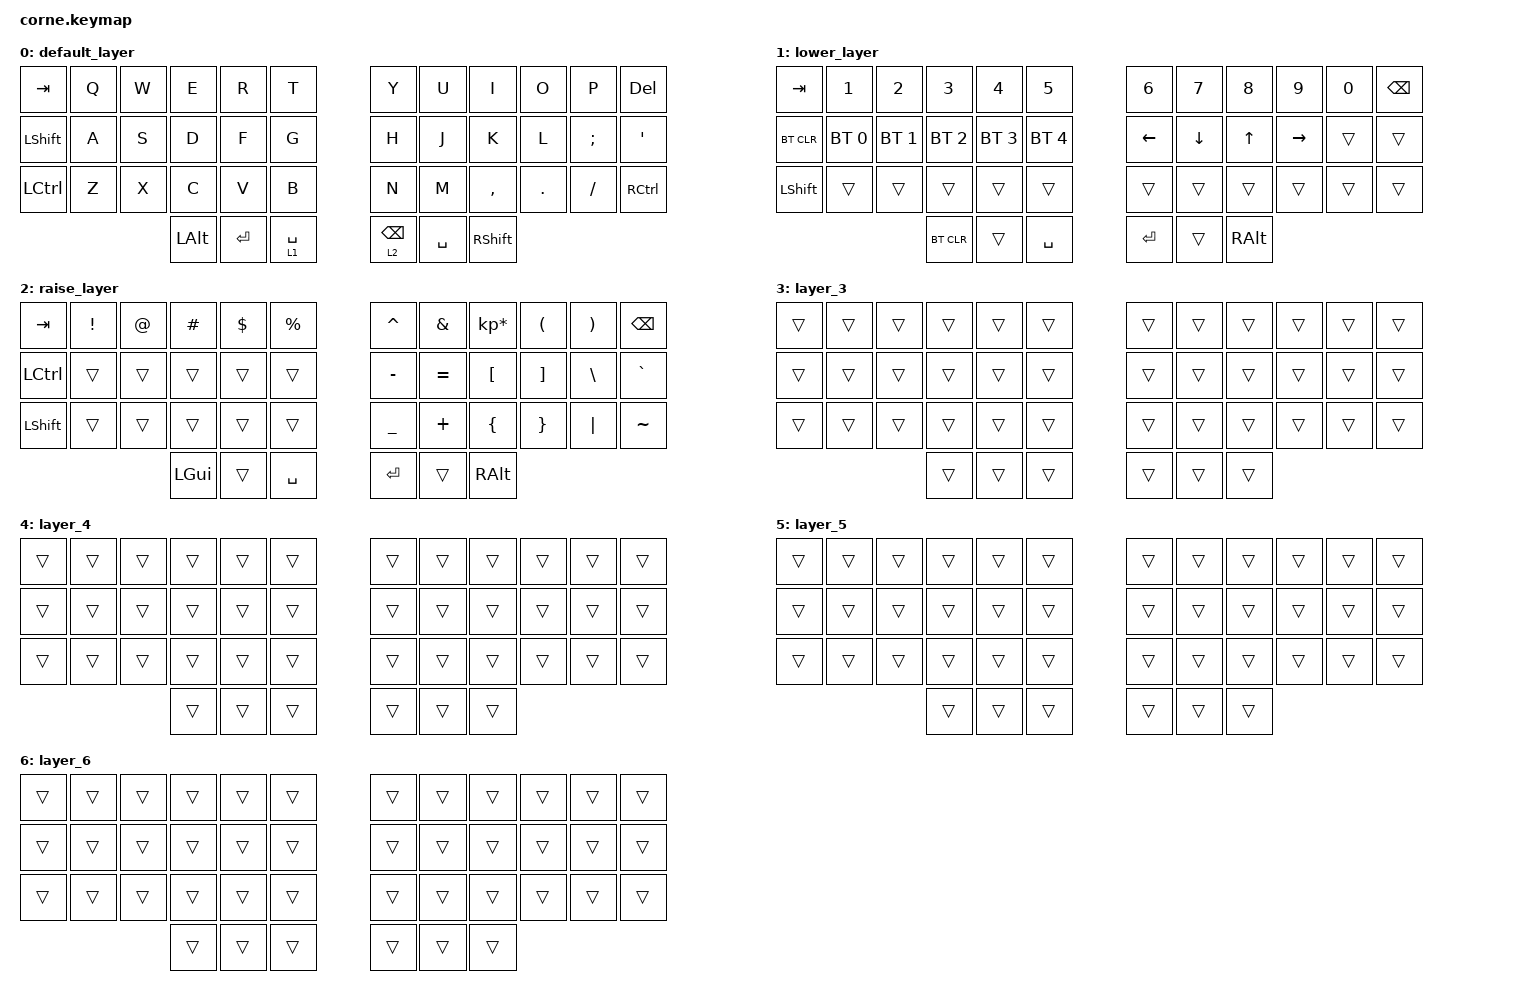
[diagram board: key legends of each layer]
/*
 * Copyright (c) 2020 The ZMK Contributors
 *
 * SPDX-License-Identifier: MIT
 */

#include <behaviors.dtsi>
#include <dt-bindings/zmk/bt.h>
#include <dt-bindings/zmk/keys.h>

/* flashing new u2f refer here https://github.com/superxc3/xcmkb/tree/main/list%20of%20items/list%20of%20keyboards/60percent/sofle/sofle%20zmk#part-b-flash-zmk
 * macro refer to this link https://github.com/superxc3/xcmkb/blob/main/list%20of%20guide/zmk-setup.md#zmk-macro
 * reserve
 * reserve
 */

/ {
    keymap {
        compatible = "zmk,keymap";

        default_layer {
            // -----------------------------------------------------------------------------------------
            // |  TAB |  Q  |  W  |  E  |  R  |  T  |   |  Y  |  U   |  I  |  O  |  P  | BKSP |
            // | CTRL |  A  |  S  |  D  |  F  |  G  |   |  H  |  J   |  K  |  L  |  ;  |  '   |
            // | SHFT |  Z  |  X  |  C  |  V  |  B  |   |  N  |  M   |  ,  |  .  |  /  | ESC  |
            //                    | GUI | LWR | SPC |   | ENT | RSE  | ALT |

            bindings = <
         &kp TAB  &kp Q  &kp W         &kp E      &kp R        &kp T              &kp Y      &kp U            &kp I    &kp O          &kp P         &kp DELETE
  &kp LEFT_SHIFT  &kp A  &kp S         &kp D      &kp F        &kp G              &kp H      &kp J            &kp K    &kp L  &kp SEMICOLON            &kp SQT
&kp LEFT_CONTROL  &kp Z  &kp X         &kp C      &kp V        &kp B              &kp N      &kp M        &kp COMMA  &kp DOT       &kp FSLH  &kp RIGHT_CONTROL
                                &kp LEFT_ALT  &kp ENTER  &lt 1 SPACE    &lt 2 BACKSPACE  &kp SPACE  &kp RIGHT_SHIFT
            >;
        };

        lower_layer {
            // -----------------------------------------------------------------------------------------
            // |  TAB |  1  |  2  |  3  |  4  |  5  |   |  6  |  7  |  8  |  9  |  0  | BKSP |
            // | BTCLR| BT1 | BT2 | BT3 | BT4 | BT5 |   | LFT | DWN |  UP | RGT |     |      |
            // | SHFT |     |     |     |     |     |   |     |     |     |     |     |      |
            //                    |BTCLR|     | SPC |   | ENT |     | ALT |

            bindings = <
   &kp TAB        &kp N1        &kp N2        &kp N3        &kp N4        &kp N5      &kp N6    &kp N7    &kp N8     &kp N9  &kp N0  &kp BSPC
&bt BT_CLR  &bt BT_SEL 0  &bt BT_SEL 1  &bt BT_SEL 2  &bt BT_SEL 3  &bt BT_SEL 4    &kp LEFT  &kp DOWN    &kp UP  &kp RIGHT  &trans    &trans
 &kp LSHFT        &trans        &trans        &trans        &trans        &trans      &trans    &trans    &trans     &trans  &trans    &trans
                                          &bt BT_CLR        &trans     &kp SPACE     &kp RET    &trans  &kp RALT
            >;
        };

        raise_layer {
            // -----------------------------------------------------------------------------------------
            // |  TAB |  !  |  @  |  #  |  $  |  %  |   |  ^  |  &  |  *  |  (  |  )  | BKSP |
            // | CTRL |     |     |     |     |     |   |  -  |  =  |  [  |  ]  |  \  |  `   |
            // | SHFT |     |     |     |     |     |   |  _  |  +  |  {  |  }  | "|" |  ~   |
            //                    | GUI |     | SPC |   | ENT |     | ALT |

            bindings = <
  &kp TAB  &kp EXCL  &kp AT  &kp HASH  &kp DLLR  &kp PRCNT    &kp CARET   &kp AMPS  &kp KP_MULTIPLY  &kp LPAR  &kp RPAR   &kp BSPC
&kp LCTRL    &trans  &trans    &trans    &trans     &trans    &kp MINUS  &kp EQUAL         &kp LBKT  &kp RBKT  &kp BSLH  &kp GRAVE
&kp LSHFT    &trans  &trans    &trans    &trans     &trans    &kp UNDER   &kp PLUS         &kp LBRC  &kp RBRC  &kp PIPE  &kp TILDE
                             &kp LGUI    &trans  &kp SPACE      &kp RET     &trans         &kp RALT
            >;
        };

        layer_3 {
            bindings = <
&trans  &trans  &trans  &trans  &trans  &trans    &trans  &trans  &trans  &trans  &trans  &trans
&trans  &trans  &trans  &trans  &trans  &trans    &trans  &trans  &trans  &trans  &trans  &trans
&trans  &trans  &trans  &trans  &trans  &trans    &trans  &trans  &trans  &trans  &trans  &trans
                        &trans  &trans  &trans    &trans  &trans  &trans
            >;
        };

        layer_4 {
            bindings = <
&trans  &trans  &trans  &trans  &trans  &trans    &trans  &trans  &trans  &trans  &trans  &trans
&trans  &trans  &trans  &trans  &trans  &trans    &trans  &trans  &trans  &trans  &trans  &trans
&trans  &trans  &trans  &trans  &trans  &trans    &trans  &trans  &trans  &trans  &trans  &trans
                        &trans  &trans  &trans    &trans  &trans  &trans
            >;
        };

        layer_5 {
            bindings = <
&trans  &trans  &trans  &trans  &trans  &trans    &trans  &trans  &trans  &trans  &trans  &trans
&trans  &trans  &trans  &trans  &trans  &trans    &trans  &trans  &trans  &trans  &trans  &trans
&trans  &trans  &trans  &trans  &trans  &trans    &trans  &trans  &trans  &trans  &trans  &trans
                        &trans  &trans  &trans    &trans  &trans  &trans
            >;
        };

        layer_6 {
            bindings = <
&trans  &trans  &trans  &trans  &trans  &trans    &trans  &trans  &trans  &trans  &trans  &trans
&trans  &trans  &trans  &trans  &trans  &trans    &trans  &trans  &trans  &trans  &trans  &trans
&trans  &trans  &trans  &trans  &trans  &trans    &trans  &trans  &trans  &trans  &trans  &trans
                        &trans  &trans  &trans    &trans  &trans  &trans
            >;
        };
    };
};
